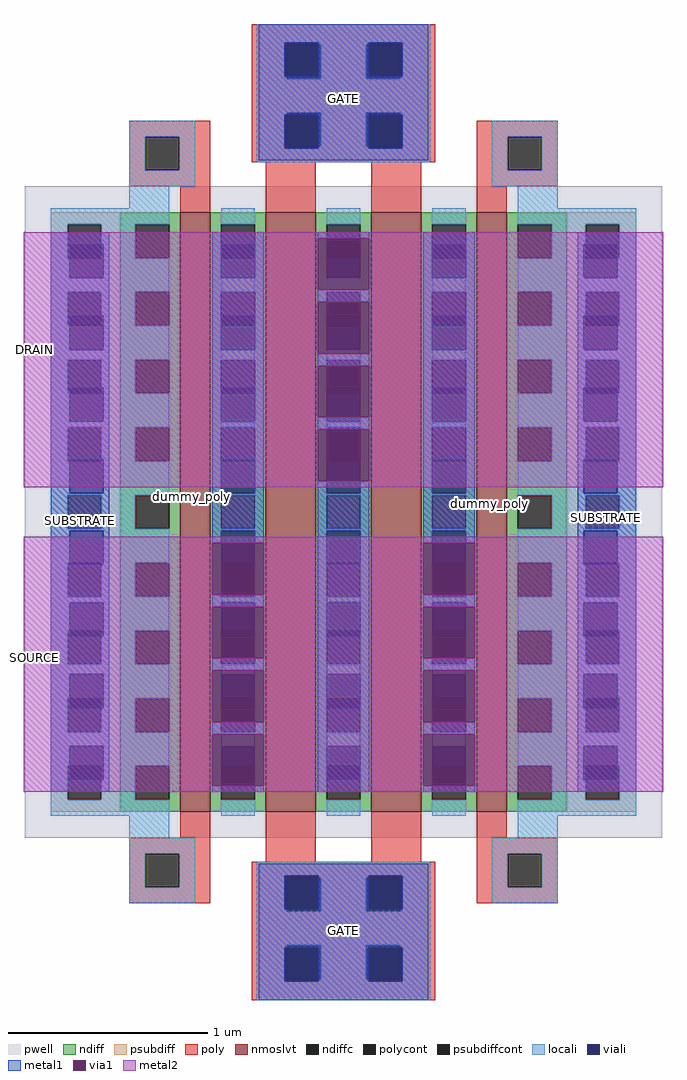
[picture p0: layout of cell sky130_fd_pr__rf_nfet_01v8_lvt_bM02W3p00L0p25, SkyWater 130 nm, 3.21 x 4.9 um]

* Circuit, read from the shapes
.subckt sky130_fd_pr__rf_nfet_01v8_lvt_bM02W3p00L0p25 DRAIN GATE SOURCE SUBSTRATE
XM1 SOURCE SUBSTRATE SUBSTRATE SUBSTRATE sky130_fd_pr__nfet_01v8_lvt w=3.01 l=0.15 m=2
XM2 DRAIN GATE SOURCE SUBSTRATE sky130_fd_pr__nfet_01v8_lvt w=3.01 l=0.25 m=2
.ends

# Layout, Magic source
magic
tech sky130A
magscale 1 2
<< pwell >>
rect 15 163 655 817
<< nmoslvt >>
rect 171 189 201 791
rect 257 189 307 791
rect 363 189 413 791
rect 469 189 499 791
<< ndiff >>
rect 111 779 171 791
rect 111 745 126 779
rect 160 745 171 779
rect 111 711 171 745
rect 111 677 126 711
rect 160 677 171 711
rect 111 643 171 677
rect 111 609 126 643
rect 160 609 171 643
rect 111 575 171 609
rect 111 541 126 575
rect 160 541 171 575
rect 111 507 171 541
rect 111 473 126 507
rect 160 473 171 507
rect 111 439 171 473
rect 111 405 126 439
rect 160 405 171 439
rect 111 371 171 405
rect 111 337 126 371
rect 160 337 171 371
rect 111 303 171 337
rect 111 269 126 303
rect 160 269 171 303
rect 111 235 171 269
rect 111 201 126 235
rect 160 201 171 235
rect 111 189 171 201
rect 201 779 257 791
rect 201 745 212 779
rect 246 745 257 779
rect 201 711 257 745
rect 201 677 212 711
rect 246 677 257 711
rect 201 643 257 677
rect 201 609 212 643
rect 246 609 257 643
rect 201 575 257 609
rect 201 541 212 575
rect 246 541 257 575
rect 201 507 257 541
rect 201 473 212 507
rect 246 473 257 507
rect 201 439 257 473
rect 201 405 212 439
rect 246 405 257 439
rect 201 371 257 405
rect 201 337 212 371
rect 246 337 257 371
rect 201 303 257 337
rect 201 269 212 303
rect 246 269 257 303
rect 201 235 257 269
rect 201 201 212 235
rect 246 201 257 235
rect 201 189 257 201
rect 307 779 363 791
rect 307 745 318 779
rect 352 745 363 779
rect 307 711 363 745
rect 307 677 318 711
rect 352 677 363 711
rect 307 643 363 677
rect 307 609 318 643
rect 352 609 363 643
rect 307 575 363 609
rect 307 541 318 575
rect 352 541 363 575
rect 307 507 363 541
rect 307 473 318 507
rect 352 473 363 507
rect 307 439 363 473
rect 307 405 318 439
rect 352 405 363 439
rect 307 371 363 405
rect 307 337 318 371
rect 352 337 363 371
rect 307 303 363 337
rect 307 269 318 303
rect 352 269 363 303
rect 307 235 363 269
rect 307 201 318 235
rect 352 201 363 235
rect 307 189 363 201
rect 413 779 469 791
rect 413 745 424 779
rect 458 745 469 779
rect 413 711 469 745
rect 413 677 424 711
rect 458 677 469 711
rect 413 643 469 677
rect 413 609 424 643
rect 458 609 469 643
rect 413 575 469 609
rect 413 541 424 575
rect 458 541 469 575
rect 413 507 469 541
rect 413 473 424 507
rect 458 473 469 507
rect 413 439 469 473
rect 413 405 424 439
rect 458 405 469 439
rect 413 371 469 405
rect 413 337 424 371
rect 458 337 469 371
rect 413 303 469 337
rect 413 269 424 303
rect 458 269 469 303
rect 413 235 469 269
rect 413 201 424 235
rect 458 201 469 235
rect 413 189 469 201
rect 499 779 559 791
rect 499 745 510 779
rect 544 745 559 779
rect 499 711 559 745
rect 499 677 510 711
rect 544 677 559 711
rect 499 643 559 677
rect 499 609 510 643
rect 544 609 559 643
rect 499 575 559 609
rect 499 541 510 575
rect 544 541 559 575
rect 499 507 559 541
rect 499 473 510 507
rect 544 473 559 507
rect 499 439 559 473
rect 499 405 510 439
rect 544 405 559 439
rect 499 371 559 405
rect 499 337 510 371
rect 544 337 559 371
rect 499 303 559 337
rect 499 269 510 303
rect 544 269 559 303
rect 499 235 559 269
rect 499 201 510 235
rect 544 201 559 235
rect 499 189 559 201
<< ndiffc >>
rect 126 745 160 779
rect 126 677 160 711
rect 126 609 160 643
rect 126 541 160 575
rect 126 473 160 507
rect 126 405 160 439
rect 126 337 160 371
rect 126 269 160 303
rect 126 201 160 235
rect 212 745 246 779
rect 212 677 246 711
rect 212 609 246 643
rect 212 541 246 575
rect 212 473 246 507
rect 212 405 246 439
rect 212 337 246 371
rect 212 269 246 303
rect 212 201 246 235
rect 318 745 352 779
rect 318 677 352 711
rect 318 609 352 643
rect 318 541 352 575
rect 318 473 352 507
rect 318 405 352 439
rect 318 337 352 371
rect 318 269 352 303
rect 318 201 352 235
rect 424 745 458 779
rect 424 677 458 711
rect 424 609 458 643
rect 424 541 458 575
rect 424 473 458 507
rect 424 405 458 439
rect 424 337 458 371
rect 424 269 458 303
rect 424 201 458 235
rect 510 745 544 779
rect 510 677 544 711
rect 510 609 544 643
rect 510 541 544 575
rect 510 473 544 507
rect 510 405 544 439
rect 510 337 544 371
rect 510 269 544 303
rect 510 201 544 235
<< psubdiff >>
rect 41 779 111 791
rect 41 745 58 779
rect 92 745 111 779
rect 41 711 111 745
rect 41 677 58 711
rect 92 677 111 711
rect 41 643 111 677
rect 41 609 58 643
rect 92 609 111 643
rect 41 575 111 609
rect 41 541 58 575
rect 92 541 111 575
rect 41 507 111 541
rect 41 473 58 507
rect 92 473 111 507
rect 41 439 111 473
rect 41 405 58 439
rect 92 405 111 439
rect 41 371 111 405
rect 41 337 58 371
rect 92 337 111 371
rect 41 303 111 337
rect 41 269 58 303
rect 92 269 111 303
rect 41 235 111 269
rect 41 201 58 235
rect 92 201 111 235
rect 41 189 111 201
rect 559 779 629 791
rect 559 745 578 779
rect 612 745 629 779
rect 559 711 629 745
rect 559 677 578 711
rect 612 677 629 711
rect 559 643 629 677
rect 559 609 578 643
rect 612 609 629 643
rect 559 575 629 609
rect 559 541 578 575
rect 612 541 629 575
rect 559 507 629 541
rect 559 473 578 507
rect 612 473 629 507
rect 559 439 629 473
rect 559 405 578 439
rect 612 405 629 439
rect 559 371 629 405
rect 559 337 578 371
rect 612 337 629 371
rect 559 303 629 337
rect 559 269 578 303
rect 612 269 629 303
rect 559 235 629 269
rect 559 201 578 235
rect 612 201 629 235
rect 559 189 629 201
<< psubdiffcont >>
rect 58 745 92 779
rect 58 677 92 711
rect 58 609 92 643
rect 58 541 92 575
rect 58 473 92 507
rect 58 405 92 439
rect 58 337 92 371
rect 58 269 92 303
rect 58 201 92 235
rect 578 745 612 779
rect 578 677 612 711
rect 578 609 612 643
rect 578 541 612 575
rect 578 473 612 507
rect 578 405 612 439
rect 578 337 612 371
rect 578 269 612 303
rect 578 201 612 235
<< poly >>
rect 243 959 427 980
rect 243 925 278 959
rect 312 925 358 959
rect 392 925 427 959
rect 243 891 427 925
rect 120 867 201 883
rect 120 833 136 867
rect 170 833 201 867
rect 243 857 278 891
rect 312 857 358 891
rect 392 857 427 891
rect 243 841 427 857
rect 469 867 550 883
rect 120 817 201 833
rect 171 791 201 817
rect 257 791 307 841
rect 363 791 413 841
rect 469 833 500 867
rect 534 833 550 867
rect 469 817 550 833
rect 469 791 499 817
rect 171 163 201 189
rect 120 147 201 163
rect 120 113 136 147
rect 170 113 201 147
rect 257 139 307 189
rect 363 139 413 189
rect 469 163 499 189
rect 469 147 550 163
rect 120 97 201 113
rect 243 123 427 139
rect 243 89 278 123
rect 312 89 358 123
rect 392 89 427 123
rect 469 113 500 147
rect 534 113 550 147
rect 469 97 550 113
rect 243 55 427 89
rect 243 21 278 55
rect 312 21 358 55
rect 392 21 427 55
rect 243 0 427 21
<< polycont >>
rect 278 925 312 959
rect 358 925 392 959
rect 136 833 170 867
rect 278 857 312 891
rect 358 857 392 891
rect 500 833 534 867
rect 136 113 170 147
rect 278 89 312 123
rect 358 89 392 123
rect 500 113 534 147
rect 278 21 312 55
rect 358 21 392 55
<< locali >>
rect 248 961 422 980
rect 248 927 276 961
rect 310 959 360 961
rect 248 925 278 927
rect 312 925 358 959
rect 394 927 422 961
rect 392 925 422 927
rect 248 891 422 925
rect 248 889 278 891
rect 120 867 186 883
rect 120 833 136 867
rect 170 833 186 867
rect 248 855 276 889
rect 312 857 358 891
rect 392 889 422 891
rect 310 855 360 857
rect 394 855 422 889
rect 248 841 422 855
rect 484 867 550 883
rect 120 817 186 833
rect 484 833 500 867
rect 534 833 550 867
rect 484 817 550 833
rect 120 795 160 817
rect 510 795 550 817
rect 41 779 160 795
rect 41 745 58 779
rect 92 759 126 779
rect 94 745 126 759
rect 41 725 60 745
rect 94 725 160 745
rect 41 711 160 725
rect 41 677 58 711
rect 92 687 126 711
rect 94 677 126 687
rect 41 653 60 677
rect 94 653 160 677
rect 41 643 160 653
rect 41 609 58 643
rect 92 615 126 643
rect 94 609 126 615
rect 41 581 60 609
rect 94 581 160 609
rect 41 575 160 581
rect 41 541 58 575
rect 92 543 126 575
rect 94 541 126 543
rect 41 509 60 541
rect 94 509 160 541
rect 41 507 160 509
rect 41 473 58 507
rect 92 473 126 507
rect 41 471 160 473
rect 41 439 60 471
rect 94 439 160 471
rect 41 405 58 439
rect 94 437 126 439
rect 92 405 126 437
rect 41 399 160 405
rect 41 371 60 399
rect 94 371 160 399
rect 41 337 58 371
rect 94 365 126 371
rect 92 337 126 365
rect 41 327 160 337
rect 41 303 60 327
rect 94 303 160 327
rect 41 269 58 303
rect 94 293 126 303
rect 92 269 126 293
rect 41 255 160 269
rect 41 235 60 255
rect 94 235 160 255
rect 41 201 58 235
rect 94 221 126 235
rect 92 201 126 221
rect 41 185 160 201
rect 212 779 246 795
rect 212 711 246 725
rect 212 643 246 653
rect 212 575 246 581
rect 212 507 246 509
rect 212 471 246 473
rect 212 399 246 405
rect 212 327 246 337
rect 212 255 246 269
rect 212 185 246 201
rect 318 779 352 795
rect 318 711 352 725
rect 318 643 352 653
rect 318 575 352 581
rect 318 507 352 509
rect 318 471 352 473
rect 318 399 352 405
rect 318 327 352 337
rect 318 255 352 269
rect 318 185 352 201
rect 424 779 458 795
rect 424 711 458 725
rect 424 643 458 653
rect 424 575 458 581
rect 424 507 458 509
rect 424 471 458 473
rect 424 399 458 405
rect 424 327 458 337
rect 424 255 458 269
rect 424 185 458 201
rect 510 779 629 795
rect 544 759 578 779
rect 544 745 576 759
rect 612 745 629 779
rect 510 725 576 745
rect 610 725 629 745
rect 510 711 629 725
rect 544 687 578 711
rect 544 677 576 687
rect 612 677 629 711
rect 510 653 576 677
rect 610 653 629 677
rect 510 643 629 653
rect 544 615 578 643
rect 544 609 576 615
rect 612 609 629 643
rect 510 581 576 609
rect 610 581 629 609
rect 510 575 629 581
rect 544 543 578 575
rect 544 541 576 543
rect 612 541 629 575
rect 510 509 576 541
rect 610 509 629 541
rect 510 507 629 509
rect 544 473 578 507
rect 612 473 629 507
rect 510 471 629 473
rect 510 439 576 471
rect 610 439 629 471
rect 544 437 576 439
rect 544 405 578 437
rect 612 405 629 439
rect 510 399 629 405
rect 510 371 576 399
rect 610 371 629 399
rect 544 365 576 371
rect 544 337 578 365
rect 612 337 629 371
rect 510 327 629 337
rect 510 303 576 327
rect 610 303 629 327
rect 544 293 576 303
rect 544 269 578 293
rect 612 269 629 303
rect 510 255 629 269
rect 510 235 576 255
rect 610 235 629 255
rect 544 221 576 235
rect 544 201 578 221
rect 612 201 629 235
rect 510 185 629 201
rect 120 163 160 185
rect 510 163 550 185
rect 120 147 186 163
rect 120 113 136 147
rect 170 113 186 147
rect 484 147 550 163
rect 120 97 186 113
rect 248 125 422 139
rect 248 91 276 125
rect 310 123 360 125
rect 248 89 278 91
rect 312 89 358 123
rect 394 91 422 125
rect 484 113 500 147
rect 534 113 550 147
rect 484 97 550 113
rect 392 89 422 91
rect 248 55 422 89
rect 248 53 278 55
rect 248 19 276 53
rect 312 21 358 55
rect 392 53 422 55
rect 310 19 360 21
rect 394 19 422 53
rect 248 0 422 19
<< viali >>
rect 276 959 310 961
rect 360 959 394 961
rect 276 927 278 959
rect 278 927 310 959
rect 360 927 392 959
rect 392 927 394 959
rect 276 857 278 889
rect 278 857 310 889
rect 360 857 392 889
rect 392 857 394 889
rect 276 855 310 857
rect 360 855 394 857
rect 60 745 92 759
rect 92 745 94 759
rect 60 725 94 745
rect 60 677 92 687
rect 92 677 94 687
rect 60 653 94 677
rect 60 609 92 615
rect 92 609 94 615
rect 60 581 94 609
rect 60 541 92 543
rect 92 541 94 543
rect 60 509 94 541
rect 60 439 94 471
rect 60 437 92 439
rect 92 437 94 439
rect 60 371 94 399
rect 60 365 92 371
rect 92 365 94 371
rect 60 303 94 327
rect 60 293 92 303
rect 92 293 94 303
rect 60 235 94 255
rect 60 221 92 235
rect 92 221 94 235
rect 212 745 246 759
rect 212 725 246 745
rect 212 677 246 687
rect 212 653 246 677
rect 212 609 246 615
rect 212 581 246 609
rect 212 541 246 543
rect 212 509 246 541
rect 212 439 246 471
rect 212 437 246 439
rect 212 371 246 399
rect 212 365 246 371
rect 212 303 246 327
rect 212 293 246 303
rect 212 235 246 255
rect 212 221 246 235
rect 318 745 352 759
rect 318 725 352 745
rect 318 677 352 687
rect 318 653 352 677
rect 318 609 352 615
rect 318 581 352 609
rect 318 541 352 543
rect 318 509 352 541
rect 318 439 352 471
rect 318 437 352 439
rect 318 371 352 399
rect 318 365 352 371
rect 318 303 352 327
rect 318 293 352 303
rect 318 235 352 255
rect 318 221 352 235
rect 424 745 458 759
rect 424 725 458 745
rect 424 677 458 687
rect 424 653 458 677
rect 424 609 458 615
rect 424 581 458 609
rect 424 541 458 543
rect 424 509 458 541
rect 424 439 458 471
rect 424 437 458 439
rect 424 371 458 399
rect 424 365 458 371
rect 424 303 458 327
rect 424 293 458 303
rect 424 235 458 255
rect 424 221 458 235
rect 576 745 578 759
rect 578 745 610 759
rect 576 725 610 745
rect 576 677 578 687
rect 578 677 610 687
rect 576 653 610 677
rect 576 609 578 615
rect 578 609 610 615
rect 576 581 610 609
rect 576 541 578 543
rect 578 541 610 543
rect 576 509 610 541
rect 576 439 610 471
rect 576 437 578 439
rect 578 437 610 439
rect 576 371 610 399
rect 576 365 578 371
rect 578 365 610 371
rect 576 303 610 327
rect 576 293 578 303
rect 578 293 610 303
rect 576 235 610 255
rect 576 221 578 235
rect 578 221 610 235
rect 276 123 310 125
rect 360 123 394 125
rect 276 91 278 123
rect 278 91 310 123
rect 360 91 392 123
rect 392 91 394 123
rect 276 21 278 53
rect 278 21 310 53
rect 360 21 392 53
rect 392 21 394 53
rect 276 19 310 21
rect 360 19 394 21
<< metal1 >>
rect 250 961 420 980
rect 250 927 276 961
rect 310 927 360 961
rect 394 927 420 961
rect 250 889 420 927
rect 250 855 276 889
rect 310 855 360 889
rect 394 855 420 889
rect 250 843 420 855
rect 41 759 100 771
rect 41 725 60 759
rect 94 725 100 759
rect 41 687 100 725
rect 41 653 60 687
rect 94 653 100 687
rect 41 615 100 653
rect 41 581 60 615
rect 94 581 100 615
rect 41 543 100 581
rect 41 509 60 543
rect 94 509 100 543
rect 41 471 100 509
rect 41 437 60 471
rect 94 437 100 471
rect 41 399 100 437
rect 41 365 60 399
rect 94 365 100 399
rect 41 327 100 365
rect 41 293 60 327
rect 94 293 100 327
rect 41 255 100 293
rect 41 221 60 255
rect 94 221 100 255
rect 41 209 100 221
rect 203 759 255 771
rect 203 725 212 759
rect 246 725 255 759
rect 203 687 255 725
rect 203 653 212 687
rect 246 653 255 687
rect 203 615 255 653
rect 203 581 212 615
rect 246 581 255 615
rect 203 543 255 581
rect 203 509 212 543
rect 246 509 255 543
rect 203 471 255 509
rect 203 459 212 471
rect 246 459 255 471
rect 203 399 255 407
rect 203 395 212 399
rect 246 395 255 399
rect 203 331 255 343
rect 203 267 255 279
rect 203 209 255 215
rect 309 765 361 771
rect 309 701 361 713
rect 309 637 361 649
rect 309 581 318 585
rect 352 581 361 585
rect 309 573 361 581
rect 309 509 318 521
rect 352 509 361 521
rect 309 471 361 509
rect 309 437 318 471
rect 352 437 361 471
rect 309 399 361 437
rect 309 365 318 399
rect 352 365 361 399
rect 309 327 361 365
rect 309 293 318 327
rect 352 293 361 327
rect 309 255 361 293
rect 309 221 318 255
rect 352 221 361 255
rect 309 209 361 221
rect 415 759 467 771
rect 415 725 424 759
rect 458 725 467 759
rect 415 687 467 725
rect 415 653 424 687
rect 458 653 467 687
rect 415 615 467 653
rect 415 581 424 615
rect 458 581 467 615
rect 415 543 467 581
rect 415 509 424 543
rect 458 509 467 543
rect 415 471 467 509
rect 415 459 424 471
rect 458 459 467 471
rect 415 399 467 407
rect 415 395 424 399
rect 458 395 467 399
rect 415 331 467 343
rect 415 267 467 279
rect 415 209 467 215
rect 570 759 629 771
rect 570 725 576 759
rect 610 725 629 759
rect 570 687 629 725
rect 570 653 576 687
rect 610 653 629 687
rect 570 615 629 653
rect 570 581 576 615
rect 610 581 629 615
rect 570 543 629 581
rect 570 509 576 543
rect 610 509 629 543
rect 570 471 629 509
rect 570 437 576 471
rect 610 437 629 471
rect 570 399 629 437
rect 570 365 576 399
rect 610 365 629 399
rect 570 327 629 365
rect 570 293 576 327
rect 610 293 629 327
rect 570 255 629 293
rect 570 221 576 255
rect 610 221 629 255
rect 570 209 629 221
rect 250 125 420 137
rect 250 91 276 125
rect 310 91 360 125
rect 394 91 420 125
rect 250 53 420 91
rect 250 19 276 53
rect 310 19 360 53
rect 394 19 420 53
rect 250 0 420 19
<< via1 >>
rect 203 437 212 459
rect 212 437 246 459
rect 246 437 255 459
rect 203 407 255 437
rect 203 365 212 395
rect 212 365 246 395
rect 246 365 255 395
rect 203 343 255 365
rect 203 327 255 331
rect 203 293 212 327
rect 212 293 246 327
rect 246 293 255 327
rect 203 279 255 293
rect 203 255 255 267
rect 203 221 212 255
rect 212 221 246 255
rect 246 221 255 255
rect 203 215 255 221
rect 309 759 361 765
rect 309 725 318 759
rect 318 725 352 759
rect 352 725 361 759
rect 309 713 361 725
rect 309 687 361 701
rect 309 653 318 687
rect 318 653 352 687
rect 352 653 361 687
rect 309 649 361 653
rect 309 615 361 637
rect 309 585 318 615
rect 318 585 352 615
rect 352 585 361 615
rect 309 543 361 573
rect 309 521 318 543
rect 318 521 352 543
rect 352 521 361 543
rect 415 437 424 459
rect 424 437 458 459
rect 458 437 467 459
rect 415 407 467 437
rect 415 365 424 395
rect 424 365 458 395
rect 458 365 467 395
rect 415 343 467 365
rect 415 327 467 331
rect 415 293 424 327
rect 424 293 458 327
rect 458 293 467 327
rect 415 279 467 293
rect 415 255 467 267
rect 415 221 424 255
rect 424 221 458 255
rect 458 221 467 255
rect 415 215 467 221
<< metal2 >>
rect 14 765 656 771
rect 14 713 309 765
rect 361 713 656 765
rect 14 701 656 713
rect 14 649 309 701
rect 361 649 656 701
rect 14 637 656 649
rect 14 585 309 637
rect 361 585 656 637
rect 14 573 656 585
rect 14 521 309 573
rect 361 521 656 573
rect 14 515 656 521
rect 14 459 656 465
rect 14 407 203 459
rect 255 407 415 459
rect 467 407 656 459
rect 14 395 656 407
rect 14 343 203 395
rect 255 343 415 395
rect 467 343 656 395
rect 14 331 656 343
rect 14 279 203 331
rect 255 279 415 331
rect 467 279 656 331
rect 14 267 656 279
rect 14 215 203 267
rect 255 215 415 267
rect 467 215 656 267
rect 14 209 656 215
<< labels >>
flabel comment s 182 506 182 506 0 FreeSans 180 90 0 0 dummy_poly
flabel comment s 482 499 482 499 0 FreeSans 180 90 0 0 dummy_poly
flabel metal1 s 255 44 414 95 0 FreeSans 200 0 0 0 GATE
port 2 nsew
flabel metal1 s 255 880 414 931 0 FreeSans 200 0 0 0 GATE
port 2 nsew
flabel metal1 s 41 466 100 496 0 FreeSans 200 90 0 0 SUBSTRATE
port 4 nsew
flabel metal1 s 570 469 629 499 0 FreeSans 200 90 0 0 SUBSTRATE
port 4 nsew
flabel metal2 s 14 280 35 408 7 FreeSans 300 180 0 0 SOURCE
port 3 nsew
flabel metal2 s 14 589 35 717 7 FreeSans 300 180 0 0 DRAIN
port 1 nsew
<< properties >>
string GDS_FILE $PDKPATH/libs.ref/sky130_fd_pr/gds/sky130_fd_pr.gds
string GDS_END 6341472
string GDS_START 6326880
<< end >>
